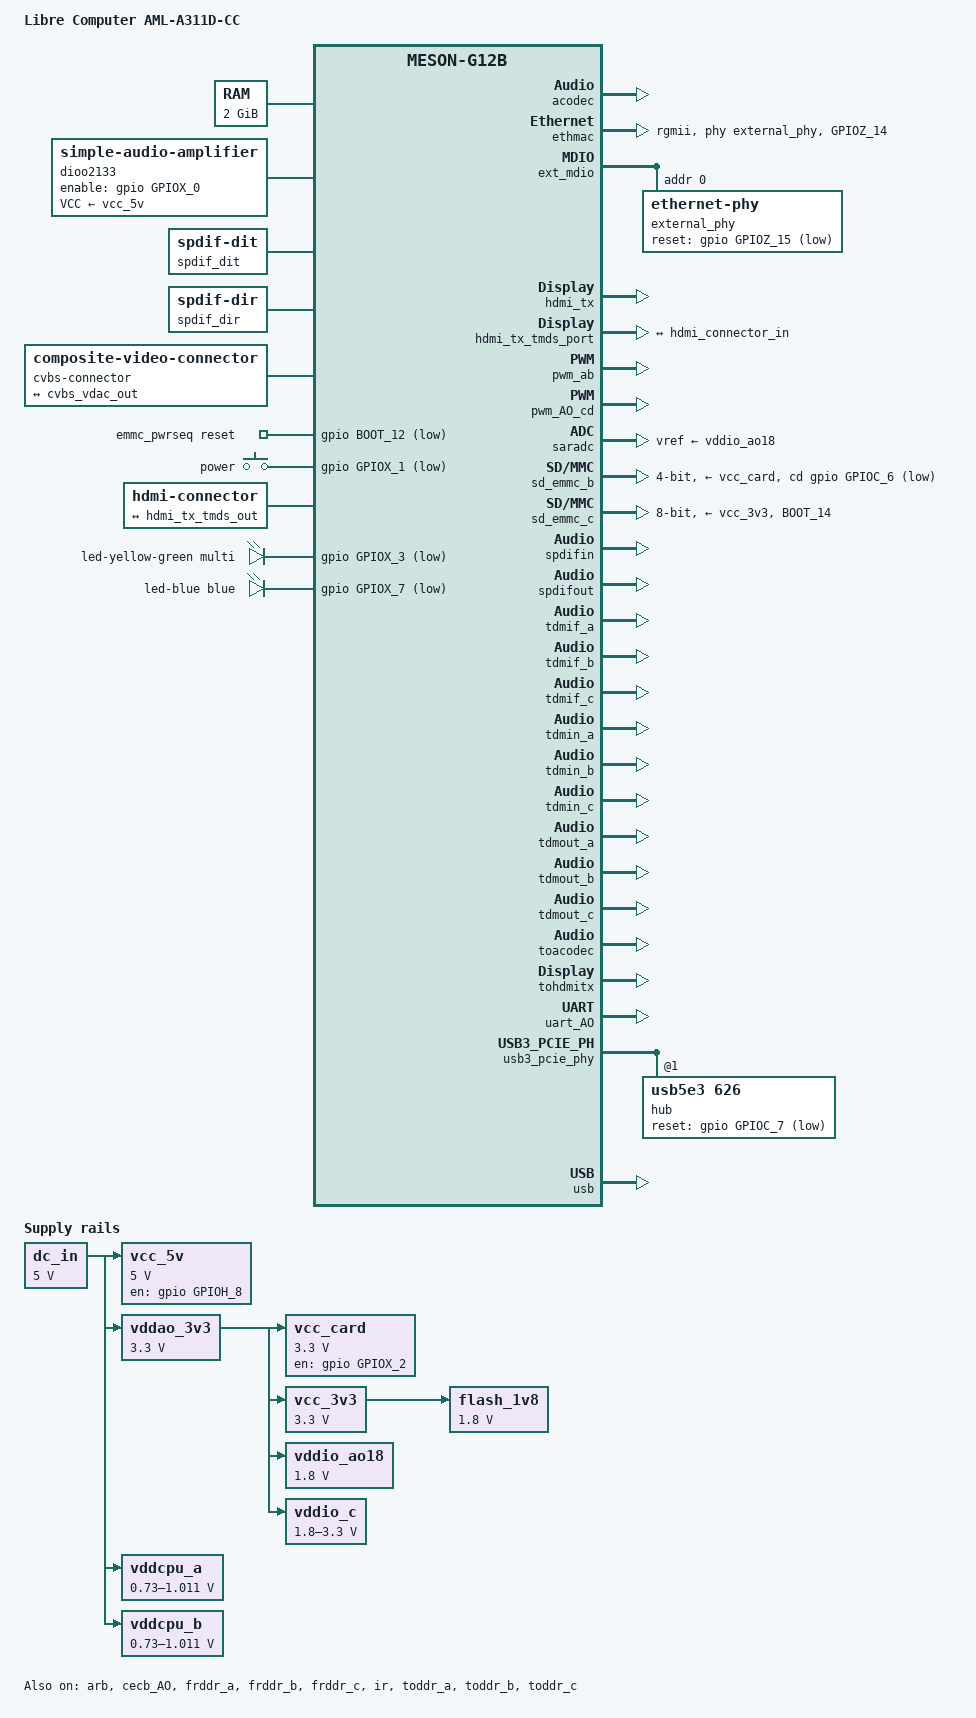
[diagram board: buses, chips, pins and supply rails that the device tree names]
// SPDX-License-Identifier: (GPL-2.0+ OR MIT)
/*
 * Copyright (c) 2023 BayLibre, SAS.
 * Author: Jerome Brunet <jbrunet@baylibre.com>
 */

/dts-v1/;

#include <dt-bindings/clock/g12a-clkc.h>
#include <dt-bindings/input/input.h>
#include <dt-bindings/leds/common.h>
#include <dt-bindings/gpio/gpio.h>
#include <dt-bindings/gpio/meson-g12a-gpio.h>
#include <dt-bindings/sound/meson-g12a-toacodec.h>
#include <dt-bindings/sound/meson-g12a-tohdmitx.h>

#include "meson-g12b-a311d.dtsi"

/ {
	compatible = "libretech,aml-a311d-cc", "amlogic,a311d", "amlogic,g12b";
	model = "Libre Computer AML-A311D-CC";

	aliases {
		/delete-property/ mmc2;
		serial0 = &uart_AO;
		ethernet0 = &ethmac;
		spi0 = &spifc;
	};

	memory@0 {
		device_type = "memory";
		reg = <0x0 0x0 0x0 0x80000000>;
	};

	chosen {
		stdout-path = "serial0:115200n8";
	};

	dioo2133: audio-amplifier-0 {
		compatible = "simple-audio-amplifier";
		enable-gpios = <&gpio GPIOX_0 GPIO_ACTIVE_HIGH>;
		VCC-supply = <&vcc_5v>;
		sound-name-prefix = "10U2";
	};

	spdif_dit: audio-codec-0 {
		#sound-dai-cells = <0>;
		compatible = "linux,spdif-dit";
		status = "okay";
		sound-name-prefix = "DIT";
	};

	spdif_dir: audio-codec-1 {
		#sound-dai-cells = <0>;
		compatible = "linux,spdif-dir";
		status = "okay";
		sound-name-prefix = "DIR";
	};

	/* TOFIX: handle CVBS_DET on SARADC channel 0 */
	cvbs-connector {
		compatible = "composite-video-connector";

		port {
			cvbs_connector_in: endpoint {
				remote-endpoint = <&cvbs_vdac_out>;
			};
		};
	};

	emmc_pwrseq: emmc-pwrseq {
		compatible = "mmc-pwrseq-emmc";
		reset-gpios = <&gpio BOOT_12 GPIO_ACTIVE_LOW>;
	};

	gpio-keys-polled {
		compatible = "gpio-keys-polled";
		poll-interval = <100>;
		power-button {
			label = "power";
			linux,code = <KEY_POWER>;
			gpios = <&gpio GPIOX_1 (GPIO_ACTIVE_LOW | GPIO_PULL_UP)>;
		};
	};

	hdmi-connector {
		compatible = "hdmi-connector";
		type = "a";

		port {
			hdmi_connector_in: endpoint {
				remote-endpoint = <&hdmi_tx_tmds_out>;
			};
		};
	};

	leds {
		compatible = "gpio-leds";

		led-yellow-green {
			color = <LED_COLOR_ID_MULTI>;
			function = LED_FUNCTION_STATUS;
			gpios = <&gpio GPIOX_3 GPIO_ACTIVE_LOW>;
			linux,default-trigger = "default-on";
			panic-indicator;
		};

		led-blue {
			color = <LED_COLOR_ID_BLUE>;
			function = LED_FUNCTION_ACTIVITY;
			gpios = <&gpio GPIOX_7 GPIO_ACTIVE_LOW>;
			linux,default-trigger = "activity";
		};
	};

	dc_in: regulator-dc-in {
		compatible = "regulator-fixed";
		regulator-name = "5V_IN";
		regulator-min-microvolt = <5000000>;
		regulator-max-microvolt = <5000000>;
		regulator-always-on;
	};

	flash_1v8: regulator-flash-1v8 {
		compatible = "regulator-fixed";
		regulator-name = "FLASH_1V8";
		regulator-min-microvolt = <1800000>;
		regulator-max-microvolt = <1800000>;
		regulator-always-on;
		vin-supply = <&vcc_3v3>;
	};

	vcc_card: regulator-vcc-card {
		compatible = "regulator-fixed";
		regulator-name = "VCC_CARD";
		regulator-min-microvolt = <3300000>;
		regulator-max-microvolt = <3300000>;
		vin-supply = <&vddao_3v3>;
		gpio = <&gpio GPIOX_2 GPIO_ACTIVE_HIGH>;
		enable-active-high;
		gpio-open-drain;
	};

	vcc_3v3: regulator-vcc-3v3 {
		compatible = "regulator-fixed";
		regulator-name = "VCC_3V3";
		regulator-min-microvolt = <3300000>;
		regulator-max-microvolt = <3300000>;
		regulator-always-on;
		vin-supply = <&vddao_3v3>;

		/* FIXME: controlled by TEST_N */
	};

	vcc_5v: regulator-vcc-5v {
		compatible = "regulator-fixed";
		regulator-name = "VCC_5V";
		regulator-min-microvolt = <5000000>;
		regulator-max-microvolt = <5000000>;
		regulator-always-on;
		vin-supply = <&dc_in>;
		gpio = <&gpio GPIOH_8 (GPIO_ACTIVE_HIGH | GPIO_OPEN_DRAIN)>;
		gpio-open-drain;
		enable-active-high;
	};

	vddao_3v3: regulator-vddao_3v3 {
		compatible = "regulator-fixed";
		regulator-name = "VDDAO_3V3";
		regulator-min-microvolt = <3300000>;
		regulator-max-microvolt = <3300000>;
		regulator-always-on;
		vin-supply = <&dc_in>;
	};

	vddcpu_a: regulator-vddcpu-a {
		compatible = "pwm-regulator";
		regulator-name = "VDDCPU_A";
		regulator-min-microvolt = <730000>;
		regulator-max-microvolt = <1011000>;
		regulator-boot-on;
		regulator-always-on;
		pwm-supply = <&dc_in>;
		pwms = <&pwm_ab 0 1250 0>;
		pwm-dutycycle-range = <100 0>;
	};

	vddcpu_b: regulator-vddcpu-b {
		compatible = "pwm-regulator";
		regulator-name = "VDDCPU_B";
		regulator-min-microvolt = <730000>;
		regulator-max-microvolt = <1011000>;
		regulator-boot-on;
		regulator-always-on;
		pwm-supply = <&dc_in>;
		pwms = <&pwm_AO_cd 1 1250 0>;
		pwm-dutycycle-range = <100 0>;
	};

	vddio_ao18: regulator-vddio_ao18 {
		compatible = "regulator-fixed";
		regulator-name = "VDDIO_AO18";
		regulator-min-microvolt = <1800000>;
		regulator-max-microvolt = <1800000>;
		regulator-always-on;
		vin-supply = <&vddao_3v3>;
	};

	vddio_c: regulator-vddio_c {
		compatible = "regulator-gpio";
		regulator-name = "VDDIO_C";
		regulator-min-microvolt = <1800000>;
		regulator-max-microvolt = <3300000>;
		regulator-settling-time-up-us = <200>;
		regulator-settling-time-down-us = <50000>;
		vin-supply = <&vddao_3v3>;
		gpios = <&gpio GPIOX_4 GPIO_ACTIVE_HIGH>;
		states = <3300000 0>,
			 <1800000 1>;
	};

	sound {
		compatible = "amlogic,axg-sound-card";
		model = "Cottonwood";
		audio-widgets = "Line", "Lineout";
		audio-aux-devs = <&tdmout_a>, <&tdmout_b>, <&tdmout_c>,
				 <&tdmin_a>, <&tdmin_b>, <&tdmin_c>,
				 <&dioo2133>;
		audio-routing = "TDMOUT_A IN 0", "FRDDR_A OUT 0",
				"TDMOUT_A IN 1", "FRDDR_B OUT 0",
				"TDMOUT_A IN 2", "FRDDR_C OUT 0",
				"TDM_A Playback", "TDMOUT_A OUT",
				"TDMOUT_B IN 0", "FRDDR_A OUT 1",
				"TDMOUT_B IN 1", "FRDDR_B OUT 1",
				"TDMOUT_B IN 2", "FRDDR_C OUT 1",
				"TDM_B Playback", "TDMOUT_B OUT",
				"TDMOUT_C IN 0", "FRDDR_A OUT 2",
				"TDMOUT_C IN 1", "FRDDR_B OUT 2",
				"TDMOUT_C IN 2", "FRDDR_C OUT 2",
				"TDM_C Playback", "TDMOUT_C OUT",
				"SPDIFOUT IN 0", "FRDDR_A OUT 3",
				"SPDIFOUT IN 1", "FRDDR_B OUT 3",
				"SPDIFOUT IN 2", "FRDDR_C OUT 3",
				"TDMIN_A IN 0", "TDM_A Capture",
				"TDMIN_B IN 0", "TDM_A Capture",
				"TDMIN_C IN 0", "TDM_A Capture",
				"TDMIN_A IN 3", "TDM_A Loopback",
				"TDMIN_B IN 3", "TDM_A Loopback",
				"TDMIN_C IN 3", "TDM_A Loopback",
				"TDMIN_A IN 1", "TDM_B Capture",
				"TDMIN_B IN 1", "TDM_B Capture",
				"TDMIN_C IN 1", "TDM_B Capture",
				"TDMIN_A IN 4", "TDM_B Loopback",
				"TDMIN_B IN 4", "TDM_B Loopback",
				"TDMIN_C IN 4", "TDM_B Loopback",
				"TDMIN_A IN 2", "TDM_C Capture",
				"TDMIN_B IN 2", "TDM_C Capture",
				"TDMIN_C IN 2", "TDM_C Capture",
				"TDMIN_A IN 5", "TDM_C Loopback",
				"TDMIN_B IN 5", "TDM_C Loopback",
				"TDMIN_C IN 5", "TDM_C Loopback",
				"TODDR_A IN 0", "TDMIN_A OUT",
				"TODDR_B IN 0", "TDMIN_A OUT",
				"TODDR_C IN 0", "TDMIN_A OUT",
				"TODDR_A IN 1", "TDMIN_B OUT",
				"TODDR_B IN 1", "TDMIN_B OUT",
				"TODDR_C IN 1", "TDMIN_B OUT",
				"TODDR_A IN 2", "TDMIN_C OUT",
				"TODDR_B IN 2", "TDMIN_C OUT",
				"TODDR_C IN 2", "TDMIN_C OUT",
				"TODDR_A IN 3", "SPDIFIN Capture",
				"TODDR_B IN 3", "SPDIFIN Capture",
				"TODDR_C IN 3", "SPDIFIN Capture",
				"Lineout", "ACODEC LOLP",
				"Lineout", "ACODEC LORP";

		assigned-clocks = <&clkc CLKID_MPLL2>,
				  <&clkc CLKID_MPLL0>,
				  <&clkc CLKID_MPLL1>;
		assigned-clock-parents = <0>, <0>, <0>;
		assigned-clock-rates = <294912000>,
				       <270950400>,
				       <393216000>;

		dai-link-0 {
			sound-dai = <&frddr_a>;
		};

		dai-link-1 {
			sound-dai = <&frddr_b>;
		};

		dai-link-2 {
			sound-dai = <&frddr_c>;
		};

		dai-link-3 {
			sound-dai = <&toddr_a>;
		};

		dai-link-4 {
			sound-dai = <&toddr_b>;
		};

		dai-link-5 {
			sound-dai = <&toddr_c>;
		};

		/*
		* Audio setup: The 40 pins header provides access to 2 TDMs
		* and SPDIF In/Out
		* - TDM A: 2 lanes on GPIOX
		*    D0:   40/X9
		*    D1:   38/X8
		*    BCLK: 12/X11
		*    SCLK: 35/X10
		* - TDM B: 4 lanes on GPIOA
		*    D0:   39/A3
		*    D1:   16/A4
		*    D2:   22/A6
		*    D3:   18/A5
		*    BCLK: 29/A1
		*    SCLK: 31/A2
		* - 2 Master Clocks: on GPIOA
		*    MCLK0: 15/A0
		*    MCLK1: 36/A11
		* - SPDIF: on GPIOH
		*    OUT: 19/H4
		*    IN:  21/H5
		*
		* TDM C is not useable on the 40 pins connector so it is
		* setup for the HDMI 4 lanes i2s.
		*
		* No pinctrl is enabled by default to preserve the
		* genericity of the 40 pins header. Many configurations are
		* possible based on the desired use case. Please adjust TDM
		* masks, clock setups and pinctrl accordingly.
		*/
		dai-link-6 {
			sound-dai = <&tdmif_a>;
			dai-format = "dsp_a";
			dai-tdm-slot-tx-mask-0 = <1 1>;
			mclk-fs = <256>;

			codec-0 {
				sound-dai = <&tohdmitx TOHDMITX_I2S_IN_A>;
			};

			codec-1 {
				sound-dai = <&toacodec TOACODEC_IN_A>;
			};
		};

		dai-link-7 {
			sound-dai = <&tdmif_b>;
			dai-format = "i2s";
			dai-tdm-slot-tx-mask-0 = <1 1>;
			dai-tdm-slot-rx-mask-1 = <1 1>;
			mclk-fs = <256>;

			codec-0 {
				sound-dai = <&tohdmitx TOHDMITX_I2S_IN_B>;
			};

			codec-1 {
				sound-dai = <&toacodec TOACODEC_IN_B>;
			};
		};

		dai-link-8 {
			sound-dai = <&tdmif_c>;
			dai-format = "i2s";
			dai-tdm-slot-tx-mask-0 = <1 1>;
			dai-tdm-slot-tx-mask-1 = <1 1>;
			dai-tdm-slot-tx-mask-2 = <1 1>;
			dai-tdm-slot-tx-mask-3 = <1 1>;
			mclk-fs = <256>;

			codec-0 {
				sound-dai = <&tohdmitx TOHDMITX_I2S_IN_C>;
			};

			codec-1 {
				sound-dai = <&toacodec TOACODEC_IN_C>;
			};
		};

		dai-link-9 {
			sound-dai = <&tohdmitx TOHDMITX_I2S_OUT>;

			codec {
				sound-dai = <&hdmi_tx>;
			};
		};

		dai-link-10 {
			sound-dai = <&toacodec TOACODEC_OUT>;

			codec {
				sound-dai = <&acodec>;
			};
		};

		dai-link-11 {
			sound-dai = <&spdifout>;

			codec-0 {
				sound-dai = <&spdif_dit>;
			};

			codec-1 {
				sound-dai = <&tohdmitx TOHDMITX_SPDIF_IN_A>;
			};
		};

		dai-link-12 {
			sound-dai = <&spdifin>;

			codec {
				sound-dai = <&spdif_dir>;
			};
		};
	};
};

&acodec {
	status = "okay";
	AVDD-supply = <&vddio_ao18>;
};

&arb {
	status = "okay";
};

&cecb_AO {
	status = "okay";
	pinctrl-0 = <&cec_ao_b_h_pins>;
	pinctrl-names = "default";
	hdmi-phandle = <&hdmi_tx>;
};

&clkc_audio {
	status = "okay";
};

&cpu0 {
	cpu-supply = <&vddcpu_b>;
	operating-points-v2 = <&cpu_opp_table_0>;
	clocks = <&clkc CLKID_CPU_CLK>;
	clock-latency = <50000>;
};

&cpu1 {
	cpu-supply = <&vddcpu_b>;
	operating-points-v2 = <&cpu_opp_table_0>;
	clocks = <&clkc CLKID_CPU_CLK>;
	clock-latency = <50000>;
};

&cpu100 {
	cpu-supply = <&vddcpu_a>;
	operating-points-v2 = <&cpub_opp_table_1>;
	clocks = <&clkc CLKID_CPUB_CLK>;
	clock-latency = <50000>;
};

&cpu101 {
	cpu-supply = <&vddcpu_a>;
	operating-points-v2 = <&cpub_opp_table_1>;
	clocks = <&clkc CLKID_CPUB_CLK>;
	clock-latency = <50000>;
};

&cpu102 {
	cpu-supply = <&vddcpu_a>;
	operating-points-v2 = <&cpub_opp_table_1>;
	clocks = <&clkc CLKID_CPUB_CLK>;
	clock-latency = <50000>;
};

&cpu103 {
	cpu-supply = <&vddcpu_a>;
	operating-points-v2 = <&cpub_opp_table_1>;
	clocks = <&clkc CLKID_CPUB_CLK>;
	clock-latency = <50000>;
};

&cvbs_vdac_port {
	cvbs_vdac_out: endpoint {
		remote-endpoint = <&cvbs_connector_in>;
	};
};

&ethmac {
	pinctrl-0 = <&eth_pins>, <&eth_rgmii_pins>, <&eth_phy_irq_pins>;
	pinctrl-names = "default";
	status = "okay";
	phy-mode = "rgmii";
	phy-handle = <&external_phy>;
	amlogic,tx-delay-ns = <2>;
};

&ext_mdio {
	external_phy: ethernet-phy@0 {
		/* Realtek RTL8211F (0x001cc916) */
		reg = <0>;
		max-speed = <1000>;

		reset-assert-us = <100000>;
		reset-deassert-us = <100000>;
		reset-gpios = <&gpio GPIOZ_15 (GPIO_ACTIVE_LOW | GPIO_OPEN_DRAIN)>;

		interrupt-parent = <&gpio_intc>;
		/* MAC_INTR on GPIOZ_14 */
		interrupts = <26 IRQ_TYPE_LEVEL_LOW>;
	};
};

&frddr_a {
	status = "okay";
};

&frddr_b {
	status = "okay";
};

&frddr_c {
	status = "okay";
};

&hdmi_tx {
	status = "okay";
	pinctrl-0 = <&hdmitx_hpd_pins>, <&hdmitx_ddc_pins>;
	pinctrl-names = "default";
	hdmi-supply = <&vcc_5v>;
};

&hdmi_tx_tmds_port {
	hdmi_tx_tmds_out: endpoint {
		remote-endpoint = <&hdmi_connector_in>;
	};
};

&ir {
	status = "okay";
	pinctrl-0 = <&remote_input_ao_pins>;
	pinctrl-names = "default";
};

&periphs_pinctrl {
	spi_cs_disable_pins: spi-cs-disable {
		mux {
			groups = "BOOT_14";
			function = "gpio_periphs";
			bias-disable;
			output-high;
		};
	};

	eth_phy_irq_pins: eth-phy-irq {
		mux {
			groups = "GPIOZ_14";
			function = "gpio_periphs";
			bias-pull-up;
			output-disable;
		};
	};
};


&pwm_ab {
	status = "okay";
	pinctrl-0 = <&pwm_a_e_pins>;
	pinctrl-names = "default";
	clocks = <&xtal>;
	clock-names = "clkin0";
};

&pwm_AO_cd {
	pinctrl-0 = <&pwm_ao_d_e_pins>;
	pinctrl-names = "default";
	clocks = <&xtal>;
	clock-names = "clkin1";
	status = "okay";
};

&saradc {
	status = "okay";
	vref-supply = <&vddio_ao18>;
};

/* SD card */
&sd_emmc_b {
	status = "okay";
	pinctrl-0 = <&sdcard_c_pins>;
	pinctrl-1 = <&sdcard_clk_gate_c_pins>;
	pinctrl-names = "default", "clk-gate";

	bus-width = <4>;
	cap-sd-highspeed;
	sd-uhs-sdr50;
	sd-uhs-sdr104;
	max-frequency = <150000000>;
	disable-wp;

	cd-gpios = <&gpio GPIOC_6 GPIO_ACTIVE_LOW>;
	vmmc-supply = <&vcc_card>;
	vqmmc-supply = <&vddio_c>;
};


/*
 * EMMC_D4, EMMC_D5, EMMC_D6 and EMMC_D7 pins are shared between SPI NOR CS
 * and eMMC Data 4 to 7 pins.
 * Replace emmc_data_8b_pins to emmc_data_4b_pins from sd_emmc_c pinctrl-0,
 * and change bus-width to 4 then spifc can be enabled.
 */
&sd_emmc_c {
	status = "okay";
	pinctrl-0 = <&emmc_ctrl_pins>, <&emmc_data_8b_pins>, <&emmc_ds_pins>,
		    <&spi_cs_disable_pins>;
	pinctrl-1 = <&emmc_clk_gate_pins>;
	pinctrl-names = "default", "clk-gate";

	bus-width = <8>;
	cap-mmc-highspeed;
	mmc-hs200-1_8v;
	max-frequency = <200000000>;
	disable-wp;

	mmc-pwrseq = <&emmc_pwrseq>;
	vmmc-supply = <&vcc_3v3>;
	vqmmc-supply = <&flash_1v8>;
};

&spifc {
	status = "disabled";
	pinctrl-0 = <&nor_pins>;
	pinctrl-names = "default";
	cs-gpios = <&gpio BOOT_14 GPIO_ACTIVE_LOW>;

	w25q128: flash@0 {
		compatible = "gd25lq128d", "jedec,spi-nor";
		reg = <0>;
		#address-cells = <1>;
		#size-cells = <1>;
		spi-max-frequency = <80000000>;
	};
};

&spdifin {
	status = "okay";
};

&spdifout {
	status = "okay";
};

&tdmif_a {
	status = "okay";
};

&tdmif_b {
	status = "okay";
};

&tdmif_c {
	status = "okay";
};

&tdmin_a {
	status = "okay";
};

&tdmin_b {
	status = "okay";
};

&tdmin_c {
	status = "okay";
};

&tdmout_a {
	status = "okay";
};

&tdmout_b {
	status = "okay";
};

&tdmout_c {
	status = "okay";
};

&toacodec {
	status = "okay";
};

&toddr_a {
	status = "okay";
};

&toddr_b {
	status = "okay";
};

&toddr_c {
	status = "okay";
};

&tohdmitx {
	status = "okay";
};

&uart_AO {
	status = "okay";
	pinctrl-0 = <&uart_ao_a_pins>;
	pinctrl-names = "default";
};

&usb2_phy1 {
	phy-supply = <&dc_in>;
};

&usb3_pcie_phy {
	#address-cells = <1>;
        #size-cells = <0>;
	phy-supply = <&vcc_5v>;

        hub: hub@1 {
            compatible = "usb5e3,626";
            reg = <1>;
            reset-gpios = <&gpio GPIOC_7 (GPIO_ACTIVE_LOW | GPIO_OPEN_DRAIN)>;
        };
};

&usb {
	status = "okay";
};
